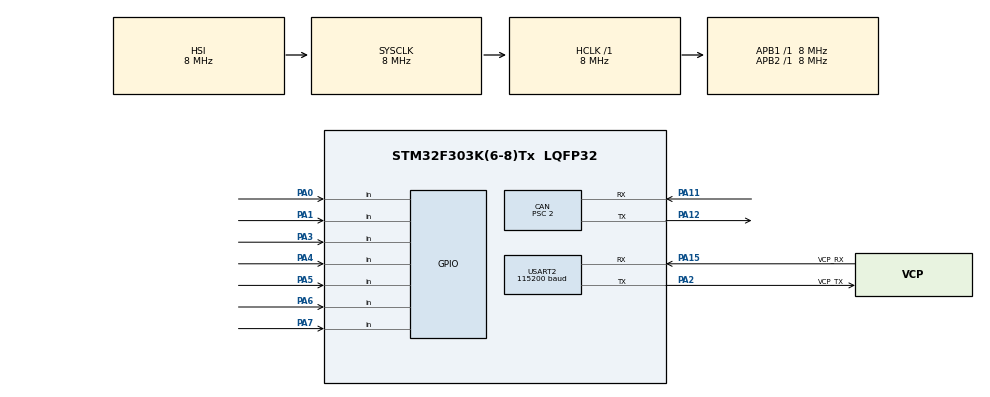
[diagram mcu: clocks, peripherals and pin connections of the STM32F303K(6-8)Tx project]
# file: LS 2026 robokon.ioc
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CAN.BS1=CAN_BS1_2TQ
CAN.CalculateBaudRate=1000000
CAN.CalculateTimeBit=1000
CAN.CalculateTimeQuantum=250.0
CAN.Prescaler=2
Mcu.Family=STM32F3
Mcu.Name=STM32F303K(6-8)Tx
Mcu.Package=LQFP32
NVIC.CAN_RX0_IRQn=true\:0\:0\:false\:false\:true\:true\:true\:true
NVIC.PriorityGroup=NVIC_PRIORITYGROUP_4
NVIC.USART2_IRQn=true\:0\:0\:false\:false\:true\:true\:true\:true
PA0.GPIO_PuPd=GPIO_PULLDOWN
PA0.Signal=GPIO_Input
PA1.GPIO_PuPd=GPIO_PULLDOWN
PA1.Signal=GPIO_Input
PA11.Mode=CAN_Activate
PA11.Signal=CAN_RX
PA12.Mode=CAN_Activate
PA12.Signal=CAN_TX
PA13.GPIO_Label=SWDIO
PA13.Mode=Serial_Wire
PA13.Signal=SYS_JTMS-SWDIO
PA14.GPIO_Label=SWCLK
PA14.Mode=Serial_Wire
PA14.Signal=SYS_JTCK-SWCLK
PA15.GPIO_Label=VCP_RX
PA15.Mode=Asynchronous
PA15.Signal=USART2_RX
PA2.GPIO_Label=VCP_TX
PA2.Mode=Asynchronous
PA2.Signal=USART2_TX
PA3.GPIO_PuPd=GPIO_PULLDOWN
PA3.Signal=GPIO_Input
PA4.GPIO_PuPd=GPIO_PULLDOWN
PA4.Signal=GPIO_Input
PA5.GPIO_PuPd=GPIO_PULLDOWN
PA5.Signal=GPIO_Input
PA6.GPIO_PuPd=GPIO_PULLDOWN
PA6.Signal=GPIO_Input
PA7.GPIO_PuPd=GPIO_PULLDOWN
PA7.Signal=GPIO_Input
PF0\ /\ OSC_IN.GPIO_Label=MCO
PF0\ /\ OSC_IN.Mode=HSE-External-Clock-Source
PF0\ /\ OSC_IN.Signal=RCC_OSC_IN
ProjectManager.HeapSize=0x200
ProjectManager.StackSize=0x400
ProjectManager.TargetToolchain=STM32CubeIDE
RCC.AHBFreq_Value=8000000
RCC.APB1Freq_Value=8000000
RCC.APB2Freq_Value=8000000
RCC.CortexFreq_Value=8000000
RCC.HSE_VALUE=8000000
RCC.HSI_VALUE=8000000
RCC.SYSCLKFreq_VALUE=8000000
USART2.BaudRate=115200
USART2.VirtualMode-Asynchronous=VM_ASYNC
board=NUCLEO-F303K8

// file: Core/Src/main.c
/* USER CODE BEGIN Header */
/**
  ******************************************************************************
  * @file           : main.c
  * @brief          : Main program body
  ******************************************************************************
  * @attention
  *
  * Copyright (c) 2026 STMicroelectronics.
  * All rights reserved.
  *
  * This software is licensed under terms that can be found in the LICENSE file
  * in the root directory of this software component.
  * If no LICENSE file comes with this software, it is provided AS-IS.
  *
  ******************************************************************************
  */
/* USER CODE END Header */
#include "main.h"

/* USER CODE BEGIN Includes */
#include<stdio.h>
/* USER CODE END Includes */

/* USER CODE BEGIN PD */
const uint32_t txId = 0x300;
int pre_transmit = 0;

static uint8_t TxData[8];
/* USER CODE END PD */

CAN_HandleTypeDef hcan;

UART_HandleTypeDef huart2;

void SystemClock_Config(void);
static void MX_GPIO_Init(void);
static void MX_USART2_UART_Init(void);
static void MX_CAN_Init(void);

/* USER CODE BEGIN 0 */
static GPIO_PinState steadyState[8];
void read_LS_button(){
	static GPIO_PinState lastState[8];
	static uint32_t lastChangeTime=0;
	static GPIO_PinState rawState[8];
	rawState[0]=HAL_GPIO_ReadPin(GPIOA,GPIO_PIN_0);//bucket up (no use)
	rawState[1]=HAL_GPIO_ReadPin(GPIOA,GPIO_PIN_1);//bucket butttom (no use)
	rawState[2]=HAL_GPIO_ReadPin(GPIOA,GPIO_PIN_3);//supply max
	rawState[3]=HAL_GPIO_ReadPin(GPIOA,GPIO_PIN_4);//supply mid
	rawState[4]=HAL_GPIO_ReadPin(GPIOA,GPIO_PIN_5);//supply min
	rawState[5]=HAL_GPIO_ReadPin(GPIOA,GPIO_PIN_6);//supply up
	rawState[6]=HAL_GPIO_ReadPin(GPIOA,GPIO_PIN_7);//supply down

	for(int j=0;j<8;j++){
			if(rawState[j]!=lastState[j]){
				lastState[j]=rawState[j];
				lastChangeTime=HAL_GetTick();
			}
			if(HAL_GetTick()-lastChangeTime>=10){
				steadyState[j]=rawState[j];
			}
		}
	}
void can_transmit(){
	CAN_TxHeaderTypeDef TxHeader;
		uint32_t TxMailbox;

		/*if(0<HAL_CAN_GetTxMailboxesFreeLevel(&hcan)&&HAL_GetTick()-pre_transmit>=10)*/
		if(0<HAL_CAN_GetTxMailboxesFreeLevel(&hcan)){
			TxHeader.StdId=txId;
			TxHeader.RTR=CAN_RTR_DATA;
			TxHeader.IDE=CAN_ID_STD;
			TxHeader.DLC=8;
			TxHeader.TransmitGlobalTime=DISABLE;

			read_LS_button();

			for(int k=0;k<8;k++){
				TxData[k]=steadyState[k];
				if(k == 3){
					TxData[3] = !(steadyState[3]);
				}
			}

			pre_transmit=HAL_GetTick();
			HAL_CAN_AddTxMessage(&hcan,&TxHeader,TxData,&TxMailbox);

		}
	}
/* USER CODE END 0 */

int main(void)
{

  /* MCU Configuration--------------------------------------------------------*/

  /* Reset of all peripherals, Initializes the Flash interface and the Systick. */
  HAL_Init();

  /* Configure the system clock */
  SystemClock_Config();

  /* Initialize all configured peripherals */
  MX_GPIO_Init();
  MX_USART2_UART_Init();
  MX_CAN_Init();
  /* USER CODE BEGIN 2 */
HAL_CAN_Start(&hcan);
  /* USER CODE END 2 */

  /* Infinite loop */
  /* USER CODE BEGIN WHILE */
  while (1)
  {
	  HAL_GPIO_ReadPin(GPIOA,GPIO_PIN_0);
	  HAL_GPIO_ReadPin(GPIOA,GPIO_PIN_1);
	  HAL_GPIO_ReadPin(GPIOA,GPIO_PIN_3);
	  HAL_GPIO_ReadPin(GPIOA,GPIO_PIN_4);
	  HAL_GPIO_ReadPin(GPIOA,GPIO_PIN_5);
	  HAL_GPIO_ReadPin(GPIOA,GPIO_PIN_6);
	  HAL_GPIO_ReadPin(GPIOA,GPIO_PIN_7);

	  can_transmit();

	  char buff[255];
	  int size=snprintf(buff,sizeof(buff),"%d %d %d %d %d %d %d %\n\r",TxData[0],TxData[1],TxData[2],TxData[3],TxData[4],TxData[5],TxData[6]);
	  HAL_UART_Transmit_IT(&huart2, (uint8_t*)buff, size);

    /* USER CODE END WHILE */

  }
}

void SystemClock_Config(void)
{
  RCC_OscInitTypeDef RCC_OscInitStruct = {0};
  RCC_ClkInitTypeDef RCC_ClkInitStruct = {0};

  /** Initializes the RCC Oscillators according to the specified parameters
  * in the RCC_OscInitTypeDef structure.
  */
  RCC_OscInitStruct.OscillatorType = RCC_OSCILLATORTYPE_HSI;
  RCC_OscInitStruct.HSIState = RCC_HSI_ON;
  RCC_OscInitStruct.HSICalibrationValue = RCC_HSICALIBRATION_DEFAULT;
  RCC_OscInitStruct.PLL.PLLState = RCC_PLL_NONE;
  if (HAL_RCC_OscConfig(&RCC_OscInitStruct) != HAL_OK)
  {
    Error_Handler();
  }

  /** Initializes the CPU, AHB and APB buses clocks
  */
  RCC_ClkInitStruct.ClockType = RCC_CLOCKTYPE_HCLK|RCC_CLOCKTYPE_SYSCLK
                              |RCC_CLOCKTYPE_PCLK1|RCC_CLOCKTYPE_PCLK2;
  RCC_ClkInitStruct.SYSCLKSource = RCC_SYSCLKSOURCE_HSI;
  RCC_ClkInitStruct.AHBCLKDivider = RCC_SYSCLK_DIV1;
  RCC_ClkInitStruct.APB1CLKDivider = RCC_HCLK_DIV1;
  RCC_ClkInitStruct.APB2CLKDivider = RCC_HCLK_DIV1;

  if (HAL_RCC_ClockConfig(&RCC_ClkInitStruct, FLASH_LATENCY_0) != HAL_OK)
  {
    Error_Handler();
  }
}

static void MX_CAN_Init(void)
{

  hcan.Instance = CAN;
  hcan.Init.Prescaler = 2;
  hcan.Init.Mode = CAN_MODE_NORMAL;
  hcan.Init.SyncJumpWidth = CAN_SJW_1TQ;
  hcan.Init.TimeSeg1 = CAN_BS1_2TQ;
  hcan.Init.TimeSeg2 = CAN_BS2_1TQ;
  hcan.Init.TimeTriggeredMode = DISABLE;
  hcan.Init.AutoBusOff = DISABLE;
  hcan.Init.AutoWakeUp = DISABLE;
  hcan.Init.AutoRetransmission = DISABLE;
  hcan.Init.ReceiveFifoLocked = DISABLE;
  hcan.Init.TransmitFifoPriority = DISABLE;
  if (HAL_CAN_Init(&hcan) != HAL_OK)
  {
    Error_Handler();
  }

}

static void MX_USART2_UART_Init(void)
{

  huart2.Instance = USART2;
  huart2.Init.BaudRate = 115200;
  huart2.Init.WordLength = UART_WORDLENGTH_8B;
  huart2.Init.StopBits = UART_STOPBITS_1;
  huart2.Init.Parity = UART_PARITY_NONE;
  huart2.Init.Mode = UART_MODE_TX_RX;
  huart2.Init.HwFlowCtl = UART_HWCONTROL_NONE;
  huart2.Init.OverSampling = UART_OVERSAMPLING_16;
  huart2.Init.OneBitSampling = UART_ONE_BIT_SAMPLE_DISABLE;
  huart2.AdvancedInit.AdvFeatureInit = UART_ADVFEATURE_NO_INIT;
  if (HAL_UART_Init(&huart2) != HAL_OK)
  {
    Error_Handler();
  }

}

static void MX_GPIO_Init(void)
{
  GPIO_InitTypeDef GPIO_InitStruct = {0};

  /* GPIO Ports Clock Enable */
  __HAL_RCC_GPIOF_CLK_ENABLE();
  __HAL_RCC_GPIOA_CLK_ENABLE();

  /*Configure GPIO pins : PA0 PA1 PA3 PA4
                           PA5 PA6 PA7 */
  GPIO_InitStruct.Pin = GPIO_PIN_0|GPIO_PIN_1|GPIO_PIN_3|GPIO_PIN_4
                          |GPIO_PIN_5|GPIO_PIN_6|GPIO_PIN_7;
  GPIO_InitStruct.Mode = GPIO_MODE_INPUT;
  GPIO_InitStruct.Pull = GPIO_PULLDOWN;
  HAL_GPIO_Init(GPIOA, &GPIO_InitStruct);

}

void Error_Handler(void)
{
  __disable_irq();
  while (1)
  {
  }
}
